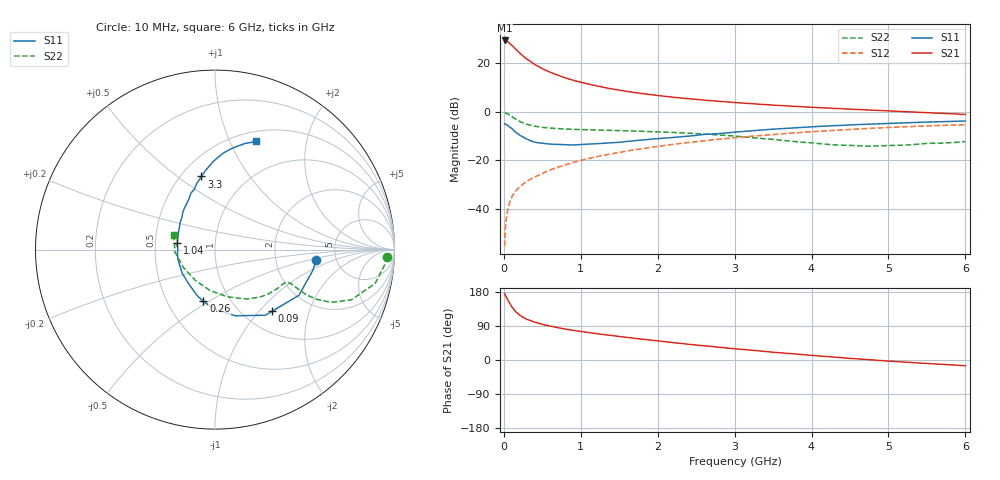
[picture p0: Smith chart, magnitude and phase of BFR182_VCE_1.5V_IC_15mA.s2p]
! (c) 2015  Infineon Technologies AG, Munich
! Infineon Technologies  Discrete & RF Semiconductors
! BFR182
! VCE =  1.5 V,  IC =  15 mA
! Common Emitter S-Parameters:  Nov 2015
# GHz  S  MA  R  50
!  f  S11  S21  S12  S22
! GHz  MAG  ANG  MAG  ANG  MAG  ANG  MAG  ANG
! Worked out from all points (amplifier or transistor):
!   210 points, 10 MHz to 6 GHz, reference 50 ohm
!   highest |S21| = 29.4 dB at 10 MHz (marker M1)
!   |S21| within 3 dB of that: start of sweep to 135.1 MHz
!   unconditionally stable (mu >= 1): 517 MHz to 2.655 GHz
!   at 185 MHz: K = 0.66, MSG = 28.2 dB, |S12| = -31.6 dB
!   at 1.52 GHz: K = 1.07, MAG = 11.1 dB, |S12| = -16.6 dB
!   at 6 GHz: K = 0.91, MSG = 2.1 dB, |S12| = -5.3 dB
!   S11 on the Smith chart (normalised r, x): 10 MHz: 3.49, -0.62; 90 MHz: 1.34, -1.18; 260 MHz: 0.75, -0.47; 1.04 GHz: 0.65, +0.05; 3.3 GHz: 0.63, +0.62; 6 GHz: 0.61, +1.26
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0.01  0.566 -6.1  29.56 175.4  0.0017 94.0  0.959 -2.3
0.02  0.5579 -11.8  29.23 170.8  0.0041 82.4  0.9504 -5.0
0.05  0.5325 -28.6  27.99 158.3  0.0094 77.8  0.9113 -12.0
0.09  0.4685 -47.1  24.54 145.0  0.0155 72.1  0.8282 -18.4
0.1  0.4613 -52.4  23.92 141.1  0.0171 71.3  0.8093 -20.2
0.15  0.3863 -72.8  19.84 127.7  0.0232 68.1  0.7111 -24.4
0.2  0.3367 -88.1  16.61 119.0  0.0276 67.9  0.6388 -25.9
0.26  0.2954 -102.6  13.69 111.4  0.0334 67.1  0.5805 -26.3
0.3  0.274 -111.6  12.15 107.1  0.037 67.7  0.5518 -26.1
0.4  0.237 -130.1  9.502 99.9  0.0451 68.8  0.5047 -25.2
0.5  0.2254 -143.9  7.734 93.9  0.0534 70.0  0.4772 -24.4
0.7  0.2132 -165.0  5.679 85.2  0.0716 71.0  0.4497 -24.3
0.8  0.2105 -173.8  4.987 81.5  0.0807 70.6  0.4416 -24.5
1.02  0.2133 170.8  3.994 74.8  0.1013 70.5  0.429 -25.9
1.04  0.2137 169.6  3.927 74.2  0.1032 70.5  0.4281 -26.1
1.4  0.2304 150.3  2.967 64.6  0.1364 68.5  0.4141 -30.2
2.02  0.2807 128.7  2.149 50.0  0.1959 63.5  0.3869 -39.6
3.1  0.3918 103.8  1.514 28.0  0.3017 52.4  0.3054 -62.8
3.3  0.4148 100.5  1.441 24.4  0.3212 50.1  0.2862 -68.9
4.1  0.5004 89.9  1.218 10.6  0.3976 40.5  0.221 -101.6
5.1  0.5834 78.7  1.028 -4.1  0.484 27.6  0.2029 -156.3
6  0.6446 69.2  0.883 -15.2  0.5411 15.0  0.2424 160.7
